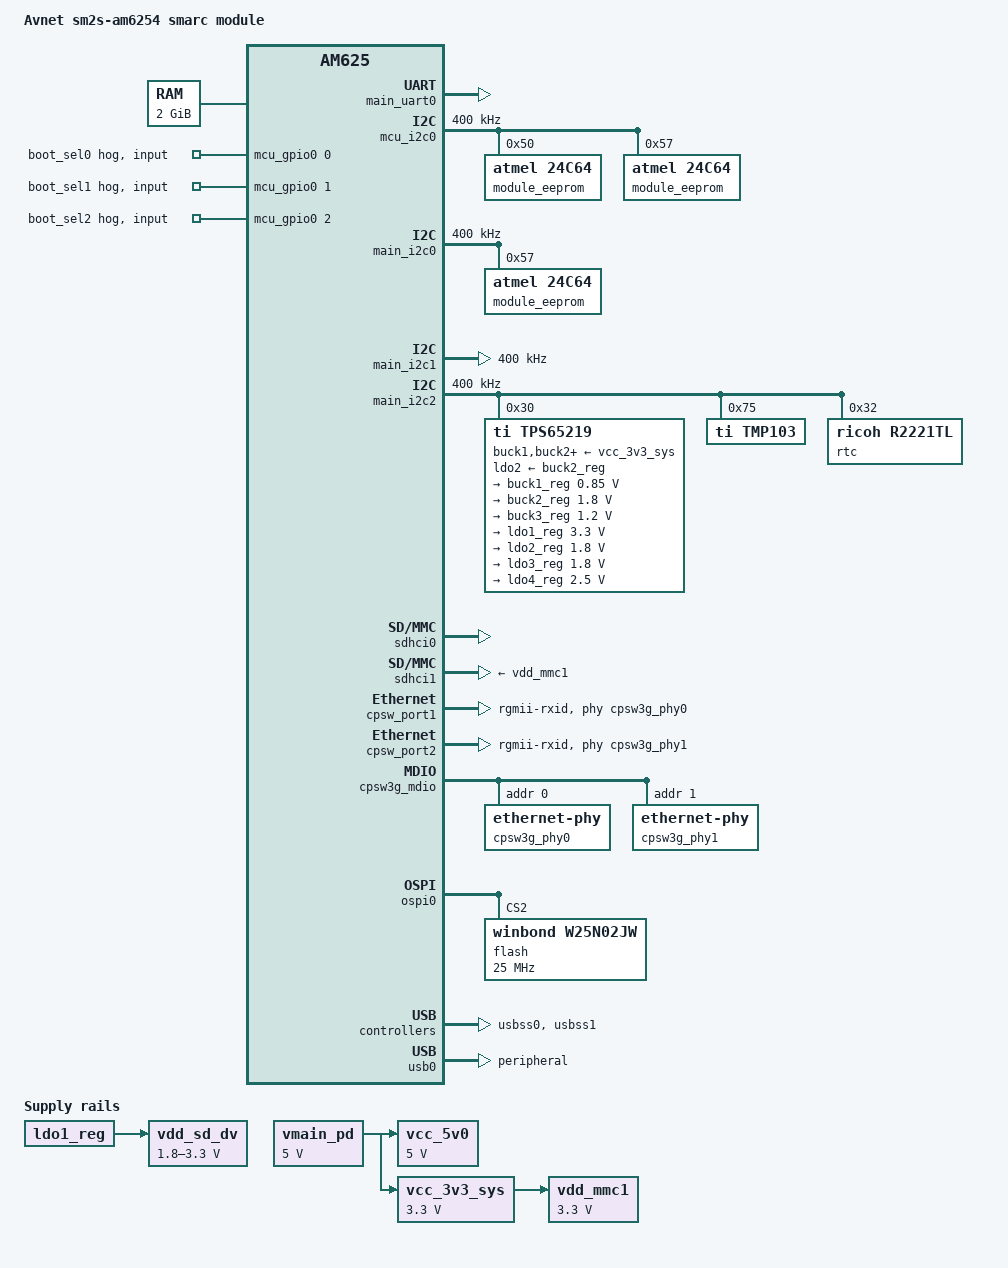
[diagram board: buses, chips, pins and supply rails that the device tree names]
// SPDX-License-Identifier: GPL-2.0
/*
 * Avnet sm2s-am62xx smarc module dts
 * 
 * Take ref from AM625 SK: https://www.ti.com/lit/zip/sprr448
 *
 * Copyright (C) 2022-23 AVNET Embedded, MSC Technologies GmbH
 */

/dts-v1/;

#include <dt-bindings/leds/common.h>
#include <dt-bindings/gpio/gpio.h>
#include <dt-bindings/net/ti-dp83867.h>
#include "k3-am625.dtsi"

/ {
	compatible = "msc,sm2s-am625x", "ti,am625";
	model = "Avnet sm2s-am6254 smarc module";

	aliases {
		serial2 = &main_uart0;
		mmc0 = &sdhci0;
		mmc1 = &sdhci1;
		mmc2 = &sdhci2;
		spi0 = &ospi0;
		ethernet0 = &cpsw_port1;
		ethernet1 = &cpsw_port2;
		usb0 = &usb0;
		usb1 = &usb1;
		mcu_i2c0 = &mcu_i2c0;
		main_i2c2 = &main_i2c2;
	};

	chosen {
		stdout-path = "serial2:115200n8";
		bootargs = "console=ttyS2,115200n8 earlycon=ns16550a,mmio32,0x02800000";
	};

	opp-table {
		/* Add 1.4GHz OPP for am625 board. Requires VDD_CORE to be at 0.85V */
		opp-1400000000 {
			opp-hz = /bits/ 64 <1400000000>;
			opp-supported-hw = <0x01 0x0004>;
			clock-latency-ns = <6000000>;
		};
	};

	memory@80000000 {
		device_type = "memory";
		/* 2G RAM */
		reg = <0x00000000 0x80000000 0x00000000 0x80000000>;

	};

	reserved-memory {
		#address-cells = <2>;
		#size-cells = <2>;
		ranges;

		ramoops@9ca00000 {
			compatible = "ramoops";
			reg = <0x00 0x9ca00000 0x00 0x00100000>;
			record-size = <0x8000>;
			console-size = <0x8000>;
			ftrace-size = <0x00>;
			pmsg-size = <0x8000>;
		};

		secure_tfa_ddr: tfa@9e780000 {
			reg = <0x00 0x9e780000 0x00 0x80000>;
			alignment = <0x1000>;
			no-map;
		};

		secure_ddr: optee@9e800000 {
			reg = <0x00 0x9e800000 0x00 0x01800000>; /* for OP-TEE */
			alignment = <0x1000>;
			no-map;
		};

		mcu_m4fss_dma_memory_region: m4f-dma-memory@9cb00000 {
			compatible = "shared-dma-pool";
			reg = <0x00 0x9cb00000 0x00 0x100000>;
			no-map;
		};

		mcu_m4fss_memory_region: m4f-memory@9cc00000 {
			compatible = "shared-dma-pool";
			reg = <0x00 0x9cc00000 0x00 0xe00000>;
			no-map;
		};

		wkup_r5fss0_core0_dma_memory_region: r5f-dma-memory@9da00000 {
			compatible = "shared-dma-pool";
			reg = <0x00 0x9da00000 0x00 0x00100000>;
			no-map;
		};

		wkup_r5fss0_core0_memory_region: r5f-memory@9db00000 {
			compatible = "shared-dma-pool";
			reg = <0x00 0x9db00000 0x00 0x00c00000>;
			no-map;
		};
	};

	vmain_pd: regulator-0 {
		/* TPS65988 PD CONTROLLER OUTPUT */
		compatible = "regulator-fixed";
		regulator-name = "vmain_pd";
		regulator-min-microvolt = <5000000>;
		regulator-max-microvolt = <5000000>;
		regulator-always-on;
		regulator-boot-on;
	};

	vcc_5v0: regulator-1 {
		/* Output of LM34936 */
		compatible = "regulator-fixed";
		regulator-name = "vcc_5v0";
		regulator-min-microvolt = <5000000>;
		regulator-max-microvolt = <5000000>;
		vin-supply = <&vmain_pd>;
		regulator-always-on;
		regulator-boot-on;
	};

	vcc_3v3_sys: regulator-2 {
		/* output of LM61460-Q1 */
		compatible = "regulator-fixed";
		regulator-name = "vcc_3v3_sys";
		regulator-min-microvolt = <3300000>;
		regulator-max-microvolt = <3300000>;
		vin-supply = <&vmain_pd>;
		regulator-always-on;
		regulator-boot-on;
	};

	vdd_mmc1: fixed-regulator-sd {
		compatible = "regulator-fixed";
		regulator-name = "vdd_mmc1";
		regulator-min-microvolt = <3300000>;
		regulator-max-microvolt = <3300000>;
		regulator-boot-on;
		regulator-always-on;
		vin-supply = <&vcc_3v3_sys>;
	};

	vdd_sd_dv: regulator-4 {
		/* Output of TLV71033 */
		compatible = "regulator-gpio";
		regulator-name = "tps65219-LDO1-VSEL_SD";
		pinctrl-names = "default";
		pinctrl-0 = <&vdd_sd_dv_pins_default>;
		regulator-min-microvolt = <1800000>;
		regulator-max-microvolt = <3300000>;
		regulator-boot-on;
		vin-supply = <&ldo1_reg>;
		gpios = <&main_gpio0 11 GPIO_ACTIVE_HIGH>;
		states = <1800000 0x0>,
				<3300000 0x1>;
	};

	/* extcon_usb0: extcon-usb0 {
		compatible = "linux,extcon-usb-gpio";
		id-gpios = <&main_gpio1 50 GPIO_ACTIVE_HIGH>;
		pinctrl-names = "default";
		pinctrl-0 = <&extcon_usb0_gpio_id_pins_default>;
	}; */
};

&mcu_pmx0 {
	mcu_i2c0_pins_default: mcu-i2c0-pins-default {
		pinctrl-single,pins = <
			AM62X_IOPAD(0x044, PIN_INPUT_PULLUP, 0) /* (A8) MCU_I2C0_SCL.MCU_I2C0_SCL */
			AM62X_IOPAD(0x048, PIN_INPUT_PULLUP, 0) /* (D10) MCU_I2C0_SDA.MCU_I2C0_SDA */
		>;
	};

	mcu_gpio0_pins_default: mcu-gpio0-pins-default {
		pinctrl-single,pins = <
			AM62X_IOPAD(0x000, PIN_INPUT, 7) /* (E8) MCU_I2C0_SCL.MCU_I2C0_SCL */
			AM62X_IOPAD(0x004, PIN_INPUT, 7) /* (B8) MCU_I2C0_SDA.MCU_I2C0_SDA */
			AM62X_IOPAD(0x008, PIN_INPUT, 7) /* (A7) MCU_I2C0_SDA.MCU_I2C0_SDA */
		>;
	};
};

&main_pmx0 {
	main_uart0_pins_default: main-uart0-pins-default {
		pinctrl-single,pins = <
			AM62X_IOPAD(0x1c8, PIN_INPUT, 0) /* (D14) UART0_RXD */
			AM62X_IOPAD(0x1cc, PIN_OUTPUT, 0) /* (E14) UART0_TXD */
		>;
	};

	main_i2c0_pins_default: main-i2c0-pins-default {
		pinctrl-single,pins = <
			AM62X_IOPAD(0x1e0, PIN_INPUT_PULLUP, 0) /* (B16) I2C0_SCL */
			AM62X_IOPAD(0x1e4, PIN_INPUT_PULLUP, 0) /* (A16) I2C0_SDA */
		>;
	};

	main_i2c1_pins_default: main-i2c1-pins-default {
		pinctrl-single,pins = <
			AM62X_IOPAD(0x1e8, PIN_INPUT_PULLUP, 0) /* (B17) I2C1_SCL */
			AM62X_IOPAD(0x1ec, PIN_INPUT_PULLUP, 0) /* (A17) I2C1_SDA */
		>;
	};

	main_i2c2_pins_default: main-i2c2-pins-default {
		pinctrl-single,pins = <
			AM62X_IOPAD(0x0b0, PIN_INPUT_PULLUP, 1) /* (K22) GPMC0_CSn2.I2C2_SCL */
			AM62X_IOPAD(0x0b4, PIN_INPUT_PULLUP, 1) /* (K24) GPMC0_CSn3.I2C2_SDA */
		>;
	};

	main_mmc0_pins_default: main-mmc0-pins-default {
		pinctrl-single,pins = <
			AM62X_IOPAD(0x220, PIN_INPUT, 0) /* (Y3) MMC0_CMD */
			AM62X_IOPAD(0x218, PIN_INPUT, 0) /* (AB1) MMC0_CLK */
			AM62X_IOPAD(0x214, PIN_INPUT, 0) /* (AA2) MMC0_DAT0 */
			AM62X_IOPAD(0x210, PIN_INPUT, 0) /* (AA1) MMC0_DAT1 */
			AM62X_IOPAD(0x20c, PIN_INPUT, 0) /* (AA3) MMC0_DAT2 */
			AM62X_IOPAD(0x208, PIN_INPUT, 0) /* (Y4) MMC0_DAT3 */
			AM62X_IOPAD(0x204, PIN_INPUT, 0) /* (AB2) MMC0_DAT4 */
			AM62X_IOPAD(0x200, PIN_INPUT, 0) /* (AC1) MMC0_DAT5 */
			AM62X_IOPAD(0x1fc, PIN_INPUT, 0) /* (AD2) MMC0_DAT6 */
			AM62X_IOPAD(0x1f8, PIN_INPUT, 0) /* (AC2) MMC0_DAT7 */
		>;
	};

	main_mmc1_pins_default: main-mmc1-pins-default {
		pinctrl-single,pins = <
			AM62X_IOPAD(0x23c, PIN_INPUT, 0) /* (A21) MMC1_CMD */
			AM62X_IOPAD(0x234, PIN_INPUT, 0) /* (B22) MMC1_CLK */
			AM62X_IOPAD(0x230, PIN_INPUT, 0) /* (A22) MMC1_DAT0 */
			AM62X_IOPAD(0x22c, PIN_INPUT, 0) /* (B21) MMC1_DAT1 */
			AM62X_IOPAD(0x228, PIN_INPUT, 0) /* (C21) MMC1_DAT2 */
			AM62X_IOPAD(0x224, PIN_INPUT, 0) /* (D22) MMC1_DAT3 */
			AM62X_IOPAD(0x240, PIN_INPUT, 0) /* (D17) MMC1_SDCD */
			AM62X_IOPAD(0x244, PIN_INPUT, 0) /* (C17) MMC1_SDWP */
		>;
	};

	usr_led_pins_default: usr-led-pins-default {
		pinctrl-single,pins = <
			AM62X_IOPAD(0x244, PIN_OUTPUT, 7) /* (C17) MMC1_SDWP.GPIO1_49 */
		>;
	};

	main_mdio1_pins_default: main-mdio1-pins-default {
		pinctrl-single,pins = <
			AM62X_IOPAD(0x160, PIN_OUTPUT, 0) /* (AD24) MDIO0_MDC */
			AM62X_IOPAD(0x15c, PIN_INPUT, 0) /* (AB22) MDIO0_MDIO */
		>;
	};

	main_rgmii1_pins_default: main-rgmii1-pins-default {
		pinctrl-single,pins = <
			AM62X_IOPAD(0x14c, PIN_INPUT, 0) /* (AB17) RGMII1_RD0 */
			AM62X_IOPAD(0x150, PIN_INPUT, 0) /* (AC17) RGMII1_RD1 */
			AM62X_IOPAD(0x154, PIN_INPUT, 0) /* (AB16) RGMII1_RD2 */
			AM62X_IOPAD(0x158, PIN_INPUT, 0) /* (AA15) RGMII1_RD3 */
			AM62X_IOPAD(0x148, PIN_INPUT, 0) /* (AD17) RGMII1_RXC */
			AM62X_IOPAD(0x144, PIN_INPUT, 0) /* (AE17) RGMII1_RX_CTL */
			AM62X_IOPAD(0x134, PIN_OUTPUT, 0) /* (AE20) RGMII1_TD0 */
			AM62X_IOPAD(0x138, PIN_OUTPUT, 0) /* (AD20) RGMII1_TD1 */
			AM62X_IOPAD(0x13c, PIN_OUTPUT, 0) /* (AE18) RGMII1_TD2 */
			AM62X_IOPAD(0x140, PIN_OUTPUT, 0) /* (AD18) RGMII1_TD3 */
			AM62X_IOPAD(0x130, PIN_OUTPUT, 0) /* (AE19) RGMII1_TXC */
			AM62X_IOPAD(0x12c, PIN_OUTPUT, 0) /* (AD19) RGMII1_TX_CTL */
		>;
	};

	main_rgmii2_pins_default: main-rgmii2-pins-default {
		pinctrl-single,pins = <
			AM62X_IOPAD(0x184, PIN_INPUT, 0) /* (AE23) RGMII2_RD0 */
			AM62X_IOPAD(0x188, PIN_INPUT, 0) /* (AB20) RGMII2_RD1 */
			AM62X_IOPAD(0x18c, PIN_INPUT, 0) /* (AC21) RGMII2_RD2 */
			AM62X_IOPAD(0x190, PIN_INPUT, 0) /* (AE22) RGMII2_RD3 */
			AM62X_IOPAD(0x180, PIN_INPUT, 0) /* (AD23) RGMII2_RXC */
			AM62X_IOPAD(0x17c, PIN_INPUT, 0) /* (AD22) RGMII2_RX_CTL */
			AM62X_IOPAD(0x16c, PIN_OUTPUT, 0) /* (Y18) RGMII2_TD0 */
			AM62X_IOPAD(0x170, PIN_OUTPUT, 0) /* (AA18) RGMII2_TD1 */
			AM62X_IOPAD(0x174, PIN_OUTPUT, 0) /* (AD21) RGMII2_TD2 */
			AM62X_IOPAD(0x178, PIN_OUTPUT, 0) /* (AC20) RGMII2_TD3 */
			AM62X_IOPAD(0x168, PIN_OUTPUT, 0) /* (AE21) RGMII2_TXC */
			AM62X_IOPAD(0x164, PIN_OUTPUT, 0) /* (AA19) RGMII2_TX_CTL */
		>;
	};

	ospi0_pins_default: ospi0-pins-default {
		pinctrl-single,pins = <
			AM62X_IOPAD(0x000, PIN_OUTPUT, 0) /* (H24) OSPI0_CLK */
			AM62X_IOPAD(0x034, PIN_OUTPUT, 0) /* (H21) OSPI0_CSn2 */
			AM62X_IOPAD(0x00c, PIN_INPUT, 0) /* (E25) OSPI0_D0 */
			AM62X_IOPAD(0x010, PIN_INPUT, 0) /* (G24) OSPI0_D1 */
			AM62X_IOPAD(0x014, PIN_INPUT, 0) /* (F25) OSPI0_D2 */
			AM62X_IOPAD(0x018, PIN_INPUT, 0) /* (F24) OSPI0_D3 */
		>;
	};

	vdd_sd_dv_pins_default: vdd-sd-dv-pins-default {
		pinctrl-single,pins = <
			AM62X_IOPAD(0x002c, PIN_OUTPUT, 7) /* (F23) OSPI0_CSn0.GPIO0_11 */
		>;
	};

	/* extcon_usb0_gpio_id_pins_default: extcon-usb0-gpio-id-pins-default {
		pinctrl-single,pins = <
			AM62X_IOPAD(0x254, PIN_INPUT_PULLUP, 7) /* (C20) USB0_DRVVBUS.GPIO1_50
		>;
	}; */

	main_usb1_pins_default: main-usb1-pins-default {
		pinctrl-single,pins = <
			AM62X_IOPAD(0x0258, PIN_OUTPUT, 0) /* (F18) USB1_DRVVBUS */
		>;
	};

	pmic_irq_pins_default: pmic-irq-pins-default {
		pinctrl-single,pins = <
			AM62X_IOPAD(0x01f4, PIN_INPUT_PULLUP, 0) /*(D16) EXTINTn*/
		>;
	};
};

&wkup_uart0 {
	/* WKUP UART0 is used by DM firmware */
	status = "reserved";
};

&main_uart0 {
	status = "okay";
	pinctrl-names = "default";
	pinctrl-0 = <&main_uart0_pins_default>;
};

&main_uart1 {
	/* Main UART1 is used by TIFS firmware */
	status = "reserved";
};

&mcu_i2c0 {
	clock-frequency = <400000>;
	pinctrl-names = "default";
	pinctrl-0 = <&mcu_i2c0_pins_default>;
	status = "okay";

	module_eeprom@50 {
		compatible = "atmel,24c64";
		reg = <0x50>;
		pagesize = <32>;
	};

	module_eeprom@57 {
		compatible = "atmel,24c64";
		reg = <0x57>;
		pagesize = <32>;
	};
};

&main_i2c0 {
	pinctrl-names = "default";
	pinctrl-0 = <&main_i2c0_pins_default>;
	clock-frequency = <400000>;

	module_eeprom@57 {
		compatible = "atmel,24c64";
		reg = <0x57>;
		pagesize = <32>;
	};
};

&main_i2c1 {
	status = "okay";
	pinctrl-names = "default";
	pinctrl-0 = <&main_i2c1_pins_default>;
	clock-frequency = <400000>;
};

&mcu_gpio0{
	status = "okay";
	pinctrl-names = "default";
	pinctrl-0 = <&mcu_gpio0_pins_default>;

	boot_sel0 {
		gpio-hog;
		input;
		gpios = <0 GPIO_ACTIVE_HIGH>;
	};

	boot_sel1 {
		gpio-hog;
		input;
		gpios = <1 GPIO_ACTIVE_HIGH>;
	};

	boot_sel2 {
		gpio-hog;
		input;
		gpios = <2 GPIO_ACTIVE_HIGH>;
	};
};

&main_i2c2 {
	#address-cells = <1>;
	#size-cells = <0>;
	pinctrl-names = "default";
	pinctrl-0 = <&main_i2c2_pins_default>;
	clock-frequency = <400000>;
	status="okay";

	tps65219: pmic@30 {
		compatible = "ti,tps65219";
		reg = <0x30>;
		pinctrl-names = "default";
		pinctrl-0 = <&pmic_irq_pins_default>;
		interrupt-parent = <&gic500>;
		interrupts = <GIC_SPI 224 IRQ_TYPE_LEVEL_HIGH>;
		interrupt-controller;
		#interrupt-cells = <1>;

		system-power-controller;
		ti,power-button;

		buck1-supply = <&vcc_3v3_sys>;
		buck2-supply = <&vcc_3v3_sys>;
		buck3-supply = <&vcc_3v3_sys>;
		ldo1-supply = <&vcc_3v3_sys>;
		ldo2-supply = <&buck2_reg>;
		ldo3-supply = <&vcc_3v3_sys>;
		ldo4-supply = <&vcc_3v3_sys>;

		regulators {
			buck1_reg: buck1 {
				regulator-name = "VDD_CORE";
				regulator-min-microvolt = <850000>;
				regulator-max-microvolt = <850000>;
				regulator-boot-on;
				regulator-always-on;
			};

			buck2_reg: buck2 {
				regulator-name = "VCC_1V8";
				regulator-min-microvolt = <1800000>;
				regulator-max-microvolt = <1800000>;
				regulator-boot-on;
				regulator-always-on;
			};

			buck3_reg: buck3 {
				regulator-name = "1V2_DDR";
				regulator-min-microvolt = <1200000>;
				regulator-max-microvolt = <1200000>;
				regulator-boot-on;
				regulator-always-on;
			};

			ldo1_reg: ldo1 {
				regulator-name = "ldo1"; /*VDDSHV_SD_IO_PMIC*/
				regulator-min-microvolt = <3300000>;
				regulator-max-microvolt = <3300000>;
				regulator-boot-on;
				regulator-always-on;
			};

			ldo2_reg: ldo2 {
				regulator-name = "ldo2"; /*CARRIER_1V8*/
				regulator-min-microvolt = <1800000>;
				regulator-max-microvolt = <1800000>;
				regulator-boot-on;
				regulator-always-on;
			};

			ldo3_reg: ldo3 {
				regulator-name = "ldo3"; /*VDDA_1V8*/
				regulator-min-microvolt = <1800000>;
				regulator-max-microvolt = <1800000>;
				regulator-boot-on;
				regulator-always-on;
			};

			ldo4_reg: ldo4 {
				regulator-name = "ldo4"; /*VDD_PHY_2V5*/
				regulator-min-microvolt = <2500000>;
				regulator-max-microvolt = <2500000>;
				regulator-boot-on;
				regulator-always-on;
			};
		};
	};

	tmp103: tmp103@75 {
		compatible = "ti,tmp103";
		reg = <0x75>;
	};

	rtc: rtc@32{
		compatible= "ricoh,r2221tl";
		reg=<0x32>;
	};
};

&main_i2c3 {
	status = "disabled";
};

&sdhci0 {
	status = "okay";
	pinctrl-names = "default";
	pinctrl-0 = <&main_mmc0_pins_default>;
	ti,driver-strength-ohm = <50>;
	disable-wp;
};

&sdhci1 {
	/* SD/MMC */
	status = "okay";
	vmmc-supply = <&vdd_mmc1>;
	vqmmc-supply = <&vdd_sd_dv>;
	pinctrl-names = "default";
	pinctrl-0 = <&main_mmc1_pins_default>;
	ti,driver-strength-ohm = <50>;
	disable-wp;
};

&cbass_mcu {
	mcu_esm: esm@4100000 {
		compatible = "ti,j721e-esm";
		reg = <0x0 0x4100000 0x0 0x1000>;
		ti,esm-pins = <0>, <1>, <2>, <85>;
		bootph-pre-ram;
	};
};

&cbass_main {
	sa3_secproxy: secproxy@44880000 {
		bootph-pre-ram;
		compatible = "ti,am654-secure-proxy";
		#mbox-cells = <1>;
		reg-names = "rt", "scfg", "target_data";
		reg = <0x00 0x44880000 0x00 0x20000>,
				<0x0 0x44860000 0x0 0x20000>,
				<0x0 0x43600000 0x0 0x10000>;
	};

	sysctrler: sysctrler {
		compatible = "ti,am654-system-controller";
		mboxes= <&secure_proxy_main 1>, <&secure_proxy_main 0>, <&sa3_secproxy 0>;
		mbox-names = "tx", "rx", "boot_notify";
		bootph-pre-ram;
	};

	main_esm: esm@420000 {
		compatible = "ti,j721e-esm";
		reg = <0x0 0x420000 0x0 0x1000>;
		ti,esm-pins = <160>, <161>, <162>, <163>, <177>, <178>;
		bootph-pre-ram;
	};
};

&cpsw3g {
	pinctrl-names = "default";
	pinctrl-0 = <&main_rgmii1_pins_default
				&main_rgmii2_pins_default>;
};

&cpsw_port1 {
	phy-mode = "rgmii-rxid";
	phy-handle = <&cpsw3g_phy0>;
};

&cpsw_port2 {
	phy-mode = "rgmii-rxid";
	phy-handle = <&cpsw3g_phy1>;
};

&cpsw3g_mdio {
	status = "okay";
	pinctrl-names = "default";
	pinctrl-0 = <&main_mdio1_pins_default>;

	cpsw3g_phy0: ethernet-phy@0 {
		reg = <0>;
		ti,rx-internal-delay = <DP83867_RGMIIDCTL_2_00_NS>;
		ti,fifo-depth = <DP83867_PHYCR_FIFO_DEPTH_4_B_NIB>;
		ti,min-output-impedance;
	};

	cpsw3g_phy1: ethernet-phy@1 {
		reg = <1>;
		ti,rx-internal-delay = <DP83867_RGMIIDCTL_2_00_NS>;
		ti,fifo-depth = <DP83867_PHYCR_FIFO_DEPTH_4_B_NIB>;
		ti,min-output-impedance;
	};
};

&mailbox0_cluster0 {
	mbox_m4_0: mbox-m4-0 {
		ti,mbox-rx = <0 0 0>;
		ti,mbox-tx = <1 0 0>;
	};
};

&ospi0 {
	status = "okay";
	pinctrl-names = "default";
	pinctrl-0 = <&ospi0_pins_default>;
	/*assigned-clock-rates = <200000000>;*/
	flash@2 {
		compatible = "winbond,W25N02JW","spi-nand";
		reg = <0x2>;
		spi-tx-bus-width = <1>;
		spi-rx-bus-width = <4>;
		spi-max-frequency = <25000000>;
		cdns,tshsl-ns = <60>;
		cdns,tsd2d-ns = <60>;
		cdns,tchsh-ns = <60>;
		cdns,tslch-ns = <60>;
		cdns,read-delay = <4>;
		cdns,phy-mode;
	};
};

&usbss0 {
	status = "okay";
	ti,vbus-divider;
};

&usbss1 {
	ti,vbus-divider;
	status = "okay";
};

&usb0 {
	dr_mode = "peripheral";
};

&usb1 {
	status = "disabled";
	dr_mode = "host";
	pinctrl-names = "default";
	pinctrl-0 = <&main_usb1_pins_default>;
};

